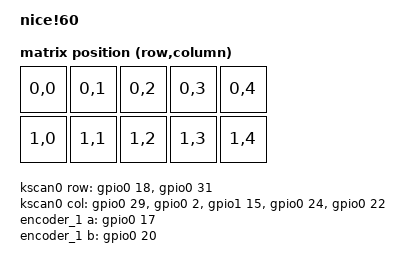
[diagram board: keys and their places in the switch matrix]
/*
 * Copyright (c) 2021 Nick Winans
 *
 * SPDX-License-Identifier: MIT
 */

/dts-v1/;
#include <nordic/nrf52840_qiaa.dtsi>

#include <dt-bindings/led/led.h>
#include <dt-bindings/zmk/matrix_transform.h>

#include "nice60-pinctrl.dtsi"

/ {
    model = "nice!60";
    compatible = "nice,60";

    chosen {
        zephyr,code-partition = &code_partition;
        zephyr,sram = &sram0;
        zephyr,flash = &flash0;
        zephyr,console = &cdc_acm_uart;
        zmk,battery = &vbatt;
        zmk,kscan = &kscan0;
        zmk,matrix_transform = &default_transform;
        zmk,underglow = &led_strip;
        zephyr,display = &oled;
    };
	
    sensors {
		compatible = "zmk,keymap-sensors";
		sensors = <&encoder_1>;
	};

    default_transform: keymap_transform_0 {
        compatible = "zmk,matrix-transform";
        columns = <14>;
        rows = <5>;
        map = <
RC(0,0) RC(0,1) RC(0,2) RC(0,3) RC(0,4)
RC(1,0) RC(1,1) RC(1,2) RC(1,3) RC(1,4)

        >;
    };

    kscan0: kscan {
        compatible = "zmk,kscan-gpio-matrix";
        label = "KSCAN";

        diode-direction = "col2row";
        row-gpios
            = <&gpio0 18 (GPIO_ACTIVE_HIGH | GPIO_PULL_DOWN)>
            , <&gpio0 31 (GPIO_ACTIVE_HIGH | GPIO_PULL_DOWN)>
            ;
        col-gpios
            = <&gpio0 29 GPIO_ACTIVE_HIGH>
            , <&gpio0 2 GPIO_ACTIVE_HIGH>
            , <&gpio1 15 GPIO_ACTIVE_HIGH>
            , <&gpio0 24 GPIO_ACTIVE_HIGH>
            , <&gpio0 22 GPIO_ACTIVE_HIGH>
            ;
  
        };
    
    encoder_1: encoder_1 {
        compatible = "alps,ec11";
        label = "ENCODER_ONE";
        a-gpios = <&gpio0 17 (GPIO_ACTIVE_HIGH | GPIO_PULL_UP)>;
        b-gpios = <&gpio0 20 (GPIO_ACTIVE_HIGH | GPIO_PULL_UP)>;
        resolution = <4>;
        status = "okay";
 };

    


    leds {
        compatible = "gpio-leds";
        blue_led: led_0 {
            gpios = <&gpio0 26 GPIO_ACTIVE_HIGH>;
            label = "Blue LED";
        };
    };

    ext-power {
        compatible = "zmk,ext-power-generic";
        label = "EXT_POWER";
        control-gpios = <&gpio0 5 GPIO_ACTIVE_LOW>;
    };

    vbatt: vbatt {
        compatible = "zmk,battery-voltage-divider";
        label = "BATTERY";
        io-channels = <&adc 2>;
        output-ohms = <2000000>;
        full-ohms = <(2000000 + 806000)>;
    };
};


&adc {
    status = "okay";
};

&gpiote {
    status = "okay";
};

&gpio0 {
    status = "okay";
};

&gpio1 {
    status = "okay";
};

&spi3 {
    compatible = "nordic,nrf-spim";

    pinctrl-0 = <&spi3_default>;
    pinctrl-names = "default";
    status = "okay";

    led_strip: ws2812@0 {
        compatible = "worldsemi,ws2812-spi";
        label = "WS2812";

        /* SPI */
        reg = <0>; /* ignored, but necessary for SPI bindings */
        spi-max-frequency = <4000000>;

        /* WS2812 */
        chain-length = <12>; /* LED strip length */
        spi-one-frame = <0x70>;
        spi-zero-frame = <0x40>;
        color-mapping = <LED_COLOR_ID_GREEN LED_COLOR_ID_RED LED_COLOR_ID_BLUE>;
    };
};

&usbd {
    status = "okay";
    cdc_acm_uart: cdc_acm_uart {
        compatible = "zephyr,cdc-acm-uart";
        label = "CDC_ACM_0";
    };
};

&i2c0 {
    status = "okay";
    compatible = "nordic,nrf-twi";
    pinctrl-0 = <&i2c0_default>;
    pinctrl-1 = <&i2c0_sleep>;
    pinctrl-names = "default", "sleep";
};

&i2c0 {
    status = "okay";
  
    oled: ssd1306@3c {
      compatible = "solomon,ssd1306fb";
      reg = <0x3c>;
      label = "SSD1306";
      width = <128>;
      height = <32>;
      segment-offset = <0>;
      page-offset = <0>;
      display-offset = <0>;
      multiplex-ratio = <31>;
      com-invdir;
      segment-remap;
      com-sequential;
      prechargep = <0x22>;
    };
  };

&flash0 {
    /*
     * For more information, see:
     * http://docs.zephyrproject.org/latest/devices/dts/flash_partitions.html
     */
    partitions {
        compatible = "fixed-partitions";
        #address-cells = <1>;
        #size-cells = <1>;

        sd_partition: partition@0 {
            label = "mbr";
            reg = <0x00000000 0x00001000>;
        };

        code_partition: partition@1000 {
            label = "code_partition";
            reg = <0x00001000 0x000d3000>;
        };

        /*
         * The flash starting at 0x000d4000 and ending at
         * 0x000f3fff is reserved for use by the application.
         */

        /*
         * Storage partition will be used by FCB/LittleFS/NVS
         * if enabled.
         */
        storage_partition: partition@d4000 {
            label = "storage";
            reg = <0x000d4000 0x00020000>;
        };

        boot_partition: partition@f4000 {
            label = "adafruit_boot";
            reg = <0x000f4000 0x0000c000>;
        };
    };
};
